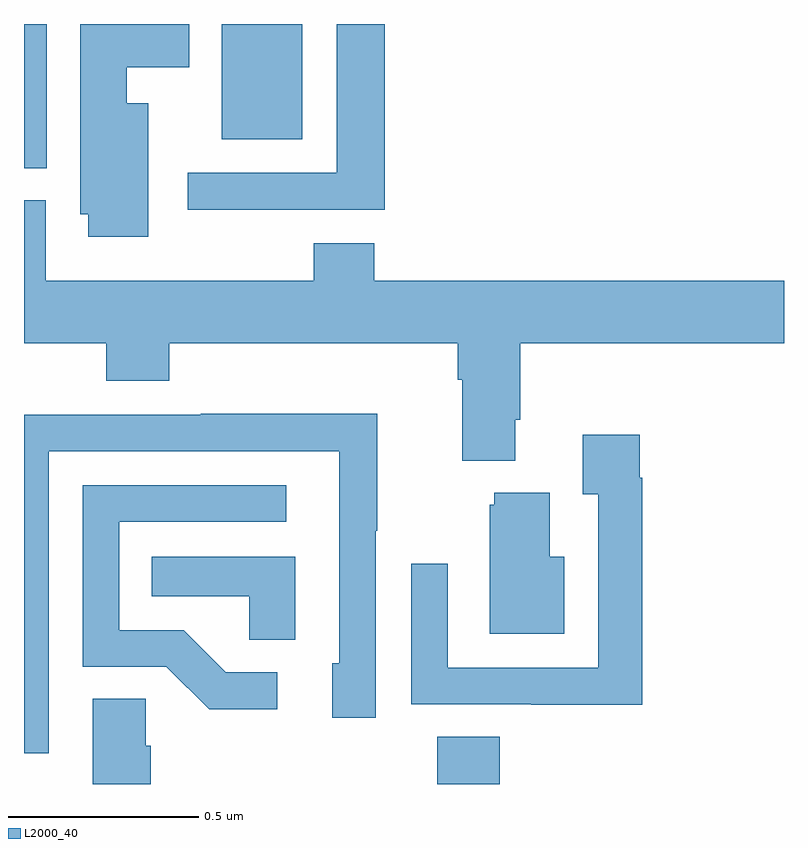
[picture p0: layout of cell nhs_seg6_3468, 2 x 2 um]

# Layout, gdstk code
import gdstk
lib = gdstk.Library(unit=1e-6, precision=1e-09)
def R(c, l, rs):  # rectangles x0, y0, x1, y1
    for r in rs: c.add(gdstk.rectangle(r[:2], r[2:], *l))
def P(c, l, *ps):  # polygons
    for p in ps: c.add(gdstk.Polygon(p, *l))
L2000_40 = (2000, 40)

nhs_seg6_3468 = lib.new_cell('nhs_seg6_3468')
R(nhs_seg6_3468, L2000_40, [(158.087,955.5,158.252,955.625), (157,957.121,157.06,957.5), (157.52,957.197,157.732,957.5)])
P(nhs_seg6_3468, L2000_40, [(157.949,957.5),(157.823,957.5),(157.823,957.108),(157.431,957.108),(157.431,957.011),(157.949,957.011)],
  [(157.327,957.292),(157.27,957.292),(157.27,957.386),(157.435,957.386),(157.435,957.5),(157.148,957.5),(157.148,957),(157.169,957),(157.169,956.94),(157.327,956.94)],
  [(158.293,956.458),(158.306,956.458),(158.306,956.66),(159,956.66),(159,956.824),(157.922,956.824),(157.922,956.923),(157.762,956.923),(157.762,956.824),(157.057,956.824),(157.057,957.036),(157,957.036),(157,956.66),(157.217,956.66),(157.217,956.561),(157.382,956.561),(157.382,956.66),(158.141,956.66),(158.141,956.564),(158.153,956.564),(158.153,956.351),(158.293,956.351)],
  [(157.065,956.376),(157.83,956.376),(157.83,955.818),(157.811,955.818),(157.811,955.674),(157.926,955.674),(157.926,956.167),(157.929,956.167),(157.929,956.474),(157.465,956.474),(157.465,956.472),(157,956.472),(157,955.581),(157.065,955.581)],
  [(158.627,956.306),(158.62,956.306),(158.62,956.419),(158.471,956.419),(158.471,956.263),(158.511,956.263),(158.511,955.806),(158.115,955.806),(158.115,956.08),(158.019,956.08),(158.019,955.71),(158.335,955.71),(158.335,955.709),(158.627,955.709)],
  [(157.666,955.794),(157.531,955.794),(157.42,955.905),(157.251,955.905),(157.251,956.19),(157.69,956.19),(157.69,956.286),(157.155,956.286),(157.155,955.809),(157.374,955.809),(157.487,955.697),(157.666,955.697)],
  [(158.422,956.098),(158.383,956.098),(158.383,956.266),(158.237,956.266),(158.237,956.235),(158.225,956.235),(158.225,955.895),(158.422,955.895)],
  [(157.714,956.098),(157.336,956.098),(157.336,955.994),(157.593,955.994),(157.593,955.879),(157.714,955.879)],
  [(157.181,955.5),(157.334,955.5),(157.334,955.601),(157.32,955.601),(157.32,955.724),(157.181,955.724)])

lib.write_gds('nhs_seg6_3468.gds')
